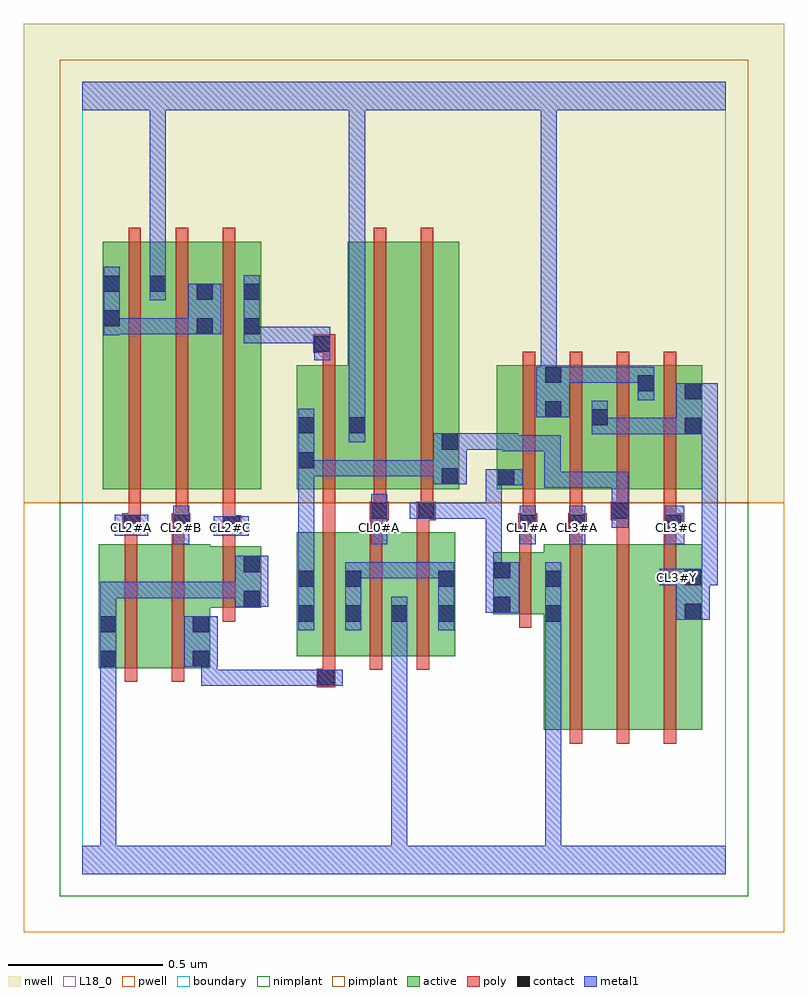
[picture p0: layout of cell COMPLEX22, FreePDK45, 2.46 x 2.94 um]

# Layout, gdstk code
import gdstk
lib = gdstk.Library(unit=1e-6, precision=1e-09)
def R(c, l, rs):  # rectangles x0, y0, x1, y1
    for r in rs: c.add(gdstk.rectangle(r[:2], r[2:], *l))
def A(c, l, x, y, w, h, nx, ny, dx, dy):  # array of equal rectangles
    R(c, l, [(x+i*dx, y+j*dy, x+i*dx+w, y+j*dy+h) for i in range(nx) for j in range(ny)])
active = (1, 0)
pwell = (2, 0)
nwell = (3, 0)
nimplant = (4, 0)
pimplant = (5, 0)
poly = (9, 0)
contact = (10, 0)
metal1 = (11, 0)
L18_0 = (18, 0)
boundary = (235, 0)

complex22 = lib.new_cell('COMPLEX22')
R(complex22, active, [(1.492,0.466,1.672,1.066), (1.672,0.466,1.824,1.066), (1.824,0.466,2.004,1.066), (1.944,0.466,2.004,1.066), (1.492,0.568,1.552,1.028), (0.054,0.666,0.114,1.066), (0.054,0.666,0.234,1.066), (0.234,0.666,0.414,1.066), (0.354,0.666,0.414,0.93), (0.694,0.704,0.754,1.104), (0.694,0.704,0.906,1.104), (0.846,0.704,0.906,1.104), (0.846,0.704,1.054,1.104), (0.994,0.704,1.054,1.104), (0.994,0.704,1.206,1.104), (1.146,0.704,1.206,1.104), (1.328,0.84,1.552,1.04), (1.328,0.84,1.388,1.04), (0.354,0.86,0.578,1.06), (0.518,0.86,0.578,1.06), (0.066,1.244,0.126,2.044), (0.066,1.244,0.274,2.044), (0.214,1.244,0.426,2.044), (0.366,1.244,0.578,2.044), (0.518,1.244,0.578,2.044), (0.694,1.244,0.754,1.644), (0.694,1.244,0.918,1.644), (0.858,1.244,0.918,2.044), (0.858,1.244,1.038,2.044), (1.038,1.244,1.218,2.044), (1.158,1.244,1.218,2.044), (1.34,1.244,1.4,1.644), (1.34,1.244,1.552,1.644), (1.492,1.244,1.702,1.644), (1.642,1.244,1.852,1.644), (1.792,1.244,2.004,1.644), (1.944,1.244,2.004,1.644), (1.792,1.364,1.852,1.644), (1.642,1.446,1.702,1.644), (0.214,1.454,0.274,2.044), (1.492,1.472,1.552,1.644), (0.366,1.686,0.426,2.044)])
R(complex22, pwell, [(-0.188,-0.188,2.268,1.2)])
R(complex22, nwell, [(-0.188,1.2,2.268,2.748)])
R(complex22, nimplant, [(-0.072,-0.072,2.152,1.2)])
R(complex22, pimplant, [(-0.072,1.2,2.152,2.632)])
A(complex22, poly, 1.576, 0.422, 0.04, 0.688, 3, 1, 0.152, 0)
A(complex22, poly, 0.778, 0.66, 0.04, 0.488, 3, 1, 0.152, 0)
A(complex22, poly, 0.778, 1.108, 0.04, 0.076, 3, 1, 0.152, 0)
A(complex22, poly, 0.15, 1.2, 0.04, 0.888, 3, 1, 0.152, 0)
A(complex22, poly, 1.424, 1.2, 0.04, 0.488, 4, 1, 0.152, 0)
R(complex22, poly, [(0.758,0.604,0.818,0.664), (0.138,0.622,0.178,1.11), (0.29,0.622,0.33,1.11), (0.778,0.624,0.818,0.7), (1.412,0.796,1.452,1.084), (0.454,0.816,0.494,1.104), (1.412,1.044,1.452,1.146), (0.454,1.064,0.494,1.14), (0.138,1.07,0.178,1.146), (0.29,1.07,0.33,1.146), (1.576,1.07,1.616,1.146), (1.728,1.07,1.768,1.184), (1.88,1.07,1.92,1.146), (0.454,1.1,0.514,1.16), (0.13,1.106,0.19,1.166), (0.138,1.106,0.178,1.146), (0.138,1.106,0.178,1.146), (0.29,1.106,0.33,1.146), (0.29,1.106,0.33,1.146), (0.29,1.106,0.35,1.166), (1.41,1.106,1.47,1.166), (1.57,1.106,1.63,1.166), (1.88,1.106,1.92,1.146), (1.88,1.106,1.92,1.146), (1.88,1.106,1.94,1.166), (0.454,1.12,0.494,1.16), (0.454,1.12,0.494,1.16), (0.454,1.12,0.494,1.24), (0.15,1.126,0.19,1.24), (0.302,1.126,0.342,1.24), (1.424,1.126,1.464,1.24), (1.424,1.126,1.464,1.166), (1.424,1.126,1.464,1.166), (1.576,1.126,1.616,1.24), (1.576,1.126,1.616,1.166), (1.576,1.126,1.616,1.166), (1.88,1.126,1.92,1.24), (0.778,1.144,0.818,1.184), (0.778,1.144,0.818,1.184), (0.778,1.144,0.818,1.184), (0.778,1.144,0.818,1.24), (0.93,1.144,0.99,1.204), (1.082,1.144,1.122,1.184), (1.082,1.144,1.122,1.184), (1.082,1.144,1.142,1.204), (1.708,1.144,1.768,1.204), (1.728,1.144,1.768,1.184), (1.728,1.144,1.768,1.184), (0.942,1.164,0.982,1.204), (0.942,1.164,0.982,1.204), (0.942,1.164,0.982,1.24), (1.094,1.164,1.134,1.24), (1.728,1.164,1.768,1.24), (0.778,1.2,0.818,1.688), (0.942,1.2,0.982,2.088), (1.094,1.2,1.134,2.088), (0.778,1.648,0.818,1.724), (0.746,1.684,0.818,1.744)])
R(complex22, contact, [(0.762,0.608,0.814,0.66), (0.058,0.67,0.11,0.722), (0.358,0.67,0.41,0.722), (0.058,0.782,0.11,0.834), (0.358,0.782,0.41,0.834), (0.698,0.816,0.75,0.868), (0.85,0.816,0.902,0.868), (0.998,0.816,1.05,0.868), (1.15,0.816,1.202,0.868), (1.496,0.816,1.548,0.868), (1.948,0.822,2,0.874), (1.332,0.844,1.384,0.896), (0.522,0.864,0.574,0.916), (0.698,0.928,0.75,0.98), (0.85,0.928,0.902,0.98), (1.15,0.928,1.202,0.98), (1.496,0.928,1.548,0.98), (1.948,0.934,2,0.986), (1.332,0.956,1.384,1.008), (0.522,0.976,0.574,1.028), (0.458,1.104,0.51,1.156), (0.134,1.11,0.186,1.162), (0.294,1.11,0.346,1.162), (1.414,1.11,1.466,1.162), (1.574,1.11,1.626,1.162), (1.884,1.11,1.936,1.162), (0.934,1.148,0.986,1.2), (1.086,1.148,1.138,1.2), (1.712,1.148,1.764,1.2), (1.344,1.256,1.396,1.308), (1.162,1.26,1.214,1.312), (0.698,1.312,0.75,1.364), (1.162,1.372,1.214,1.424), (1.948,1.422,2,1.474), (0.698,1.424,0.75,1.476), (0.862,1.424,0.914,1.476), (1.646,1.45,1.698,1.502), (1.496,1.476,1.548,1.528), (1.948,1.534,2,1.586), (1.796,1.56,1.848,1.612), (1.496,1.588,1.548,1.64), (0.75,1.688,0.802,1.74), (0.37,1.744,0.422,1.796), (0.522,1.744,0.574,1.796), (0.07,1.77,0.122,1.822), (0.37,1.856,0.422,1.908), (0.522,1.856,0.574,1.908), (0.07,1.882,0.122,1.934), (0.218,1.882,0.27,1.934)])
R(complex22, metal1, [(0,0,2.08,0.092), (0.058,0.04,0.11,0.092), (0.058,0.04,0.11,0.092), (0.058,0.04,0.11,0.092), (0.058,0.04,0.11,0.092), (0.058,0.04,0.11,0.092), (0.058,0.04,0.11,0.092), (0.058,0.04,0.11,0.092), (0.058,0.04,0.11,0.092), (0.058,0.04,0.11,0.092), (0.058,0.04,0.11,0.092), (0.058,0.04,0.11,0.694), (0.998,0.04,1.05,0.092), (0.998,0.04,1.05,0.092), (0.998,0.04,1.05,0.092), (0.998,0.04,1.05,0.092), (0.998,0.04,1.05,0.092), (0.998,0.04,1.05,0.092), (0.998,0.04,1.05,0.092), (0.998,0.04,1.05,0.092), (0.998,0.04,1.05,0.092), (0.998,0.04,1.05,0.092), (0.998,0.04,1.05,0.84), (1.496,0.04,1.548,0.092), (1.496,0.04,1.548,0.092), (1.496,0.04,1.548,0.092), (1.496,0.04,1.548,0.092), (1.496,0.04,1.548,0.092), (1.496,0.04,1.548,0.092), (1.496,0.04,1.548,0.092), (1.496,0.04,1.548,0.092), (1.496,0.04,1.548,0.84), (0.384,0.608,0.436,0.66), (0.384,0.608,0.436,0.66), (0.384,0.608,0.436,0.66), (0.384,0.608,0.64,0.66), (0.384,0.608,0.436,0.722), (0.588,0.608,0.64,0.66), (0.588,0.608,0.64,0.66), (0.588,0.608,0.64,0.66), (0.588,0.608,0.786,0.66), (0.734,0.608,0.842,0.66), (0.058,0.642,0.11,0.694), (0.058,0.642,0.11,0.694), (0.058,0.642,0.11,0.862), (0.33,0.67,0.438,0.834), (0.698,0.788,0.75,1.008), (0.85,0.788,0.902,1.008), (0.998,0.788,1.05,0.84), (0.998,0.788,1.05,0.84), (0.998,0.788,1.05,0.896), (1.15,0.788,1.202,1.008), (1.496,0.788,1.548,1.008), (0.058,0.81,0.11,0.862), (0.058,0.81,0.11,0.862), (0.058,0.81,0.11,0.862), (0.058,0.81,0.11,0.862), (0.058,0.81,0.11,0.944), (1.92,0.822,2.028,0.986), (1.304,0.844,1.412,1.008), (0.494,0.864,0.602,1.028), (0.058,0.892,0.11,0.944), (0.058,0.892,0.11,0.944), (0.058,0.892,0.11,0.944), (0.058,0.892,0.272,0.944), (0.22,0.892,0.272,0.944), (0.22,0.892,0.272,0.944), (0.22,0.892,0.272,0.944), (0.22,0.892,0.436,0.944), (0.384,0.892,0.436,0.944), (0.384,0.892,0.436,0.944), (0.384,0.892,0.436,0.944), (0.384,0.892,0.546,0.944), (1.866,0.934,2.054,0.986), (1.92,0.934,1.972,0.986), (2.002,0.934,2.054,1.474), (0.698,0.956,0.75,1.336), (0.85,0.956,0.902,1.008), (0.85,0.956,0.902,1.008), (0.85,0.956,1.056,1.008), (1.004,0.956,1.056,1.008), (1.004,0.956,1.056,1.008), (1.004,0.956,1.056,1.008), (1.004,0.956,1.202,1.008), (1.304,0.956,1.356,1.008), (1.304,0.956,1.356,1.008), (1.304,0.956,1.356,1.2), (0.294,1.066,0.346,1.19), (0.934,1.066,0.986,1.228), (1.414,1.066,1.466,1.19), (1.574,1.066,1.626,1.19), (1.884,1.066,1.946,1.19), (0.106,1.094,0.214,1.162), (0.426,1.094,0.538,1.156), (1.712,1.12,1.764,1.3), (1.058,1.148,1.166,1.2), (1.114,1.148,1.166,1.2), (1.114,1.148,1.166,1.2), (1.114,1.148,1.356,1.2), (1.304,1.148,1.356,1.2), (1.304,1.148,1.356,1.308), (1.494,1.248,1.546,1.3), (1.494,1.248,1.546,1.3), (1.494,1.248,1.546,1.3), (1.494,1.248,1.686,1.3), (1.494,1.248,1.546,1.418), (1.634,1.248,1.686,1.3), (1.634,1.248,1.764,1.3), (1.304,1.256,1.424,1.308), (1.134,1.26,1.242,1.424), (0.698,1.284,0.75,1.336), (0.698,1.284,0.75,1.336), (0.698,1.284,0.75,1.336), (0.698,1.284,0.75,1.336), (0.698,1.284,0.75,1.504), (0.698,1.286,0.75,1.338), (0.698,1.286,0.75,1.338), (0.698,1.286,0.94,1.338), (0.888,1.286,0.94,1.338), (0.888,1.286,0.94,1.338), (0.888,1.286,0.94,1.338), (0.888,1.286,1.056,1.338), (1.004,1.286,1.056,1.338), (1.004,1.286,1.186,1.338), (1.134,1.286,1.186,1.338), (1.134,1.286,1.186,1.338), (1.358,1.366,1.546,1.418), (1.358,1.366,1.41,1.424), (1.494,1.366,1.546,1.418), (1.494,1.366,1.546,1.418), (1.494,1.366,1.546,1.418), (1.19,1.372,1.242,1.424), (1.19,1.372,1.242,1.424), (1.19,1.372,1.41,1.424), (1.358,1.372,1.41,1.424), (1.358,1.372,1.41,1.424), (0.862,1.396,0.914,1.504), (1.646,1.422,1.698,1.53), (1.646,1.422,1.808,1.474), (1.756,1.422,1.808,1.474), (1.756,1.422,1.808,1.474), (1.756,1.422,1.808,1.474), (1.756,1.422,1.972,1.474), (1.92,1.422,1.972,1.474), (1.92,1.422,1.972,1.474), (1.92,1.422,2.054,1.586), (2.002,1.422,2.054,1.474), (2.002,1.422,2.054,1.474), (0.862,1.452,0.914,2.52), (1.468,1.476,1.576,1.64), (1.796,1.532,1.848,1.64), (1.482,1.588,1.534,1.64), (1.482,1.588,1.534,1.64), (1.482,1.588,1.534,1.64), (1.482,1.588,1.534,1.64), (1.482,1.588,1.534,1.64), (1.482,1.588,1.534,1.64), (1.482,1.588,1.534,1.64), (1.482,1.588,1.534,1.64), (1.482,1.588,1.534,1.64), (1.482,1.588,1.534,1.64), (1.482,1.588,1.534,1.64), (1.482,1.588,1.534,1.64), (1.482,1.588,1.534,1.64), (1.482,1.588,1.534,1.64), (1.482,1.588,1.534,1.64), (1.482,1.588,1.534,1.64), (1.482,1.588,1.534,2.52), (1.524,1.588,1.576,1.64), (1.524,1.588,1.576,1.64), (1.524,1.588,1.686,1.64), (1.634,1.588,1.686,1.64), (1.634,1.588,1.686,1.64), (1.634,1.588,1.686,1.64), (1.634,1.588,1.848,1.64), (0.75,1.66,0.802,1.768), (0.522,1.716,0.574,1.768), (0.522,1.716,0.574,1.768), (0.522,1.716,0.574,1.936), (0.522,1.716,0.802,1.768), (0.07,1.742,0.122,1.962), (0.07,1.744,0.122,1.796), (0.07,1.744,0.122,1.796), (0.07,1.744,0.232,1.796), (0.18,1.744,0.232,1.796), (0.18,1.744,0.232,1.796), (0.18,1.744,0.232,1.796), (0.18,1.744,0.394,1.796), (0.342,1.744,0.45,1.908), (0.218,1.854,0.27,1.962), (0.218,1.91,0.27,2.52), (0,2.468,2.08,2.56), (0.218,2.468,0.27,2.52), (0.218,2.468,0.27,2.52), (0.218,2.468,0.27,2.52), (0.218,2.468,0.27,2.52), (0.218,2.468,0.27,2.52), (0.218,2.468,0.27,2.52), (0.218,2.468,0.27,2.52), (0.218,2.468,0.27,2.52), (0.862,2.468,0.914,2.52), (0.862,2.468,0.914,2.52), (0.862,2.468,0.914,2.52), (0.862,2.468,0.914,2.52), (0.862,2.468,0.914,2.52), (0.862,2.468,0.914,2.52), (0.862,2.468,0.914,2.52), (0.862,2.468,0.914,2.52)])
A(complex22, L18_0, 0.134, 1.094, 0.052, 0.052, 3, 1, 0.16, 0)
R(complex22, L18_0, [(0,0,2.08,0.092), (0.058,0.04,0.11,0.092), (0.058,0.04,0.11,0.092), (0.058,0.04,0.11,0.092), (0.058,0.04,0.11,0.092), (0.058,0.04,0.11,0.092), (0.058,0.04,0.11,0.092), (0.058,0.04,0.11,0.092), (0.058,0.04,0.11,0.092), (0.058,0.04,0.11,0.092), (0.058,0.04,0.11,0.092), (0.058,0.04,0.11,0.694), (0.998,0.04,1.05,0.092), (0.998,0.04,1.05,0.092), (0.998,0.04,1.05,0.092), (0.998,0.04,1.05,0.092), (0.998,0.04,1.05,0.092), (0.998,0.04,1.05,0.092), (0.998,0.04,1.05,0.092), (0.998,0.04,1.05,0.092), (0.998,0.04,1.05,0.092), (0.998,0.04,1.05,0.092), (0.998,0.04,1.05,0.84), (1.496,0.04,1.548,0.092), (1.496,0.04,1.548,0.092), (1.496,0.04,1.548,0.092), (1.496,0.04,1.548,0.092), (1.496,0.04,1.548,0.092), (1.496,0.04,1.548,0.092), (1.496,0.04,1.548,0.092), (1.496,0.04,1.548,0.092), (1.496,0.04,1.548,0.84), (0.058,0.642,0.11,0.694), (0.058,0.642,0.11,0.694), (0.058,0.642,0.11,0.862), (0.998,0.788,1.05,0.84), (0.998,0.788,1.05,0.84), (0.998,0.788,1.05,0.896), (1.496,0.788,1.548,1.008), (0.058,0.81,0.11,0.862), (0.058,0.81,0.11,0.862), (0.058,0.81,0.11,0.862), (0.058,0.81,0.11,0.862), (0.058,0.81,0.11,0.944), (1.92,0.822,2.028,0.986), (0.494,0.864,0.602,1.028), (0.058,0.892,0.11,0.944), (0.058,0.892,0.11,0.944), (0.058,0.892,0.11,0.944), (0.058,0.892,0.272,0.944), (0.22,0.892,0.272,0.944), (0.22,0.892,0.272,0.944), (0.22,0.892,0.272,0.944), (0.22,0.892,0.436,0.944), (0.384,0.892,0.436,0.944), (0.384,0.892,0.436,0.944), (0.384,0.892,0.436,0.944), (0.384,0.892,0.546,0.944), (1.866,0.934,2.054,0.986), (1.894,0.934,1.946,0.986), (1.92,0.934,1.972,0.986), (2.002,0.934,2.054,1.474), (0.294,1.066,0.346,1.19), (0.934,1.066,0.986,1.228), (1.414,1.066,1.466,1.19), (1.574,1.066,1.626,1.19), (1.884,1.066,1.946,1.19), (0.106,1.094,0.214,1.162), (0.426,1.094,0.538,1.156), (0.934,1.094,0.986,1.146), (1.414,1.094,1.466,1.146), (1.574,1.094,1.626,1.146), (1.894,1.094,1.946,1.146), (0.862,1.396,0.914,1.504), (1.646,1.422,1.698,1.53), (1.646,1.422,1.808,1.474), (1.756,1.422,1.808,1.474), (1.756,1.422,1.808,1.474), (1.756,1.422,1.808,1.474), (1.756,1.422,1.972,1.474), (1.92,1.422,1.972,1.474), (1.92,1.422,1.972,1.474), (1.92,1.422,2.054,1.586), (2.002,1.422,2.054,1.474), (2.002,1.422,2.054,1.474), (0.862,1.452,0.914,2.52), (1.468,1.476,1.576,1.64), (1.796,1.532,1.848,1.64), (1.482,1.588,1.534,1.64), (1.482,1.588,1.534,1.64), (1.482,1.588,1.534,1.64), (1.482,1.588,1.534,1.64), (1.482,1.588,1.534,1.64), (1.482,1.588,1.534,1.64), (1.482,1.588,1.534,1.64), (1.482,1.588,1.534,1.64), (1.482,1.588,1.534,1.64), (1.482,1.588,1.534,1.64), (1.482,1.588,1.534,1.64), (1.482,1.588,1.534,1.64), (1.482,1.588,1.534,1.64), (1.482,1.588,1.534,1.64), (1.482,1.588,1.534,1.64), (1.482,1.588,1.534,1.64), (1.482,1.588,1.534,2.52), (1.524,1.588,1.576,1.64), (1.524,1.588,1.576,1.64), (1.524,1.588,1.686,1.64), (1.634,1.588,1.686,1.64), (1.634,1.588,1.686,1.64), (1.634,1.588,1.686,1.64), (1.634,1.588,1.848,1.64), (0.218,1.854,0.27,1.962), (0.218,1.91,0.27,2.52), (0,2.468,2.08,2.56), (0.218,2.468,0.27,2.52), (0.218,2.468,0.27,2.52), (0.218,2.468,0.27,2.52), (0.218,2.468,0.27,2.52), (0.218,2.468,0.27,2.52), (0.218,2.468,0.27,2.52), (0.218,2.468,0.27,2.52), (0.218,2.468,0.27,2.52), (0.862,2.468,0.914,2.52), (0.862,2.468,0.914,2.52), (0.862,2.468,0.914,2.52), (0.862,2.468,0.914,2.52), (0.862,2.468,0.914,2.52), (0.862,2.468,0.914,2.52), (0.862,2.468,0.914,2.52), (0.862,2.468,0.914,2.52)])
R(complex22, boundary, [(0,0,2.08,2.56)])
complex22.add(gdstk.Label('CL0#A', (0.96,1.12), layer=11, texttype=0))
complex22.add(gdstk.Label('CL1#A', (1.44,1.12), layer=11, texttype=0))
complex22.add(gdstk.Label('CL2#A', (0.16,1.12), layer=11, texttype=0))
complex22.add(gdstk.Label('CL2#B', (0.32,1.12), layer=11, texttype=0))
complex22.add(gdstk.Label('CL2#C', (0.48,1.12), layer=11, texttype=0))
complex22.add(gdstk.Label('CL3#A', (1.6,1.12), layer=11, texttype=0))
complex22.add(gdstk.Label('CL3#C', (1.92,1.12), layer=11, texttype=0))
complex22.add(gdstk.Label('CL3#Y', (1.92,0.96), layer=11, texttype=0))

lib.write_gds('COMPLEX22.gds')
